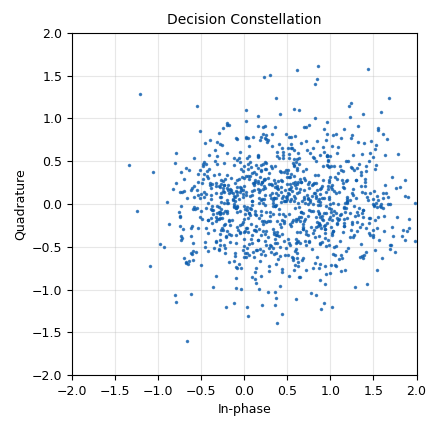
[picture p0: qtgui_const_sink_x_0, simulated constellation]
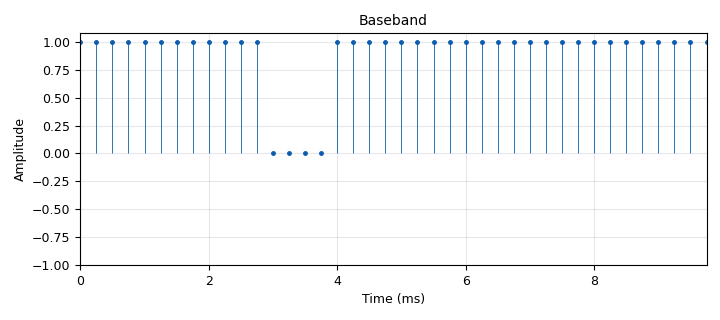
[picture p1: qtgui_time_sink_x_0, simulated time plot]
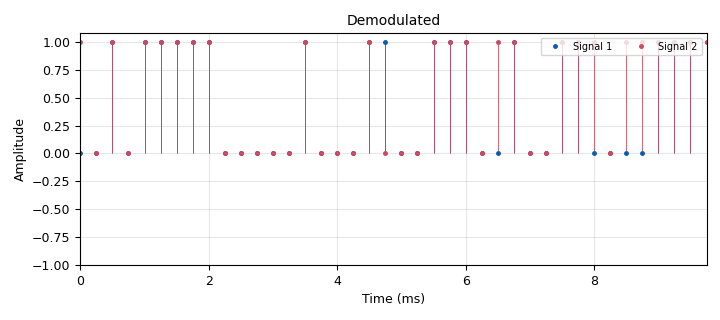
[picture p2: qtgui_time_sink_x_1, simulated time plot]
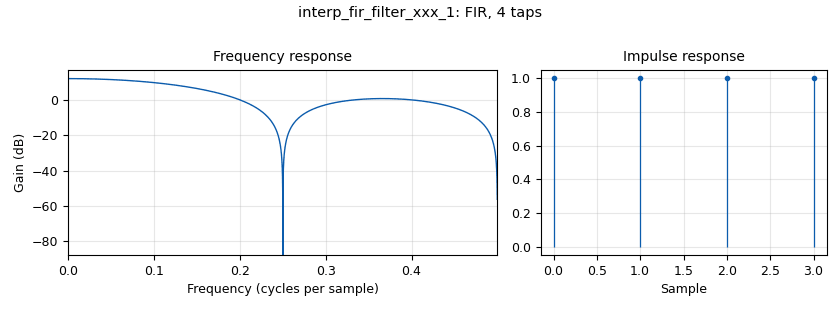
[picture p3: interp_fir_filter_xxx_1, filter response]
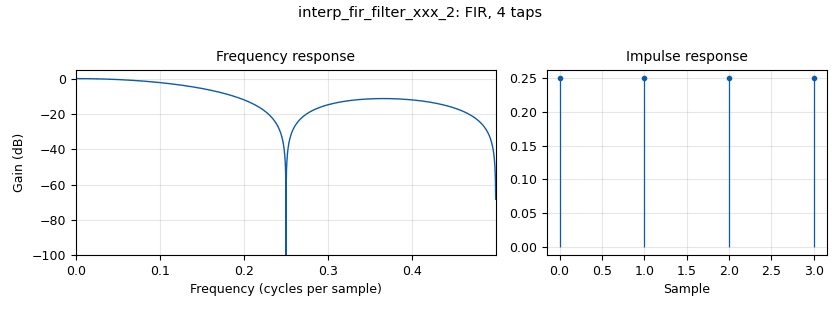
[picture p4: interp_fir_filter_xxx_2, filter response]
options:
  parameters:
    generate_options: qt_gui
    id: exp7_vv
    output_language: python
    title: Not titled yet
  states: {}

blocks:
- name: 'No'
  id: variable
  parameters:
    value: 4/SNR
  states: {}
- name: SNR
  id: variable
  parameters:
    value: 10**((SNR_db)/10)
  states: {}
- name: SNR_db
  id: variable_qtgui_range
  parameters:
    start: '0'
    step: '1'
    stop: '12'
    value: '4'
  states: {}
- name: data_rate
  id: variable
  parameters:
    value: '1000'
  states: {}
- name: samp_rate
  id: variable
  parameters:
    value: '4000'
  states: {}
- name: theory
  id: variable
  parameters:
    value: 0.5*ss.erfc(0.5*(np.sqrt(SNR)))
  states: {}
- name: analog_const_source_x_0
  id: analog_const_source_x
  parameters:
    const: theory
    type: float
  states: {}
- name: analog_noise_source_x_0
  id: analog_noise_source_x
  parameters:
    amp: np.sqrt(No)
    noise_type: analog.GR_GAUSSIAN
    seed: '0'
    type: complex
  states: {}
- name: analog_random_source_x_0
  id: analog_random_source_x
  parameters:
    max: '2'
    min: '0'
    num_samps: '10000'
    repeat: 'False'
    type: int
  states: {}
- name: blocks_add_xx_0
  id: blocks_add_xx
  parameters:
    type: complex
  states: {}
- name: blocks_char_to_float_0
  id: blocks_char_to_float
  parameters:
    scale: '1'
  states: {}
- name: blocks_float_to_char_0
  id: blocks_float_to_char
  parameters:
    scale: '1'
  states: {}
- name: blocks_float_to_complex_0
  id: blocks_float_to_complex
  parameters: {}
  states: {}
- name: blocks_int_to_float_0
  id: blocks_int_to_float
  parameters:
    scale: '1'
  states: {}
- name: blocks_keep_one_in_n_0
  id: blocks_keep_one_in_n
  parameters:
    n: '4'
    type: complex
  states: {}
- name: blocks_skiphead_0
  id: blocks_skiphead
  parameters:
    num_items: '0'
    type: complex
  states: {}
- name: blocks_throttle2_0
  id: blocks_throttle2
  parameters:
    samples_per_second: samp_rate
    type: float
  states: {}
- name: digital_chunks_to_symbols_xx_0
  id: digital_chunks_to_symbols_xx
  parameters:
    dimension: '1'
    in_type: int
    out_type: float
    symbol_table: '[0,1]'
  states: {}
- name: epy_block_0
  id: epy_block
  parameters:
    _source_code: |
      """
      Embedded Python Blocks:

      Each time this file is saved, GRC will instantiate the first class it finds
      to get ports and parameters of your block. The arguments to __init__  will
      be the parameters. All of them are required to have default values!
      """

      import numpy as np
      from gnuradio import gr


      class blk(gr.sync_block):  # other base classes are basic_block, decim_block, interp_block
          """Embedded Python Block example - a simple multiply const"""

          def __init__(self, example_param=1.0):  # only default arguments here
              """arguments to this function show up as parameters in GRC"""
              gr.sync_block.__init__(
                  self,
                  name='Embedded Python Block',   # will show up in GRC
                  in_sig=[np.complex64],
                  out_sig=[np.complex64]
              )
              # if an attribute with the same name as a parameter is found,
              # a callback is registered (properties work, too).
              self.example_param = example_param

          def work(self, input_items, output_items):
              """example: multiply with constant"""
              output_items[0][:] = input_items[0] * self.example_param
              return len(output_items[0])
      import numpy as np
      from gnuradio import gr


      class blk(gr.sync_block):
          """
          ASK/OOK Decision Device

          Input:
              Complex matched-filter samples

          Output:
              Detected bits (0 or 1)
          """

          def __init__(self, threshold=0.5):
              gr.sync_block.__init__(
                  self,
                  name="ASK Decision Device",
                  in_sig=[np.complex64],
                  out_sig=[np.uint8]
              )

              self.threshold = threshold

          def work(self, input_items, output_items):
              # Complex samples from matched filter/downsampler
              y = input_items[0]

              # Take the in-phase (real) component
              y_real = np.real(y)

              # Decision:
              # Real(y) > threshold -> 1
              # Real(y) <= threshold -> 0
              output_items[0][:] = (
                  y_real > self.threshold
              ).astype(np.uint8)

              return len(output_items[0])
    threshold: '0.5'
  states: {}
- name: epy_block_1
  id: epy_block
  parameters:
    _source_code: |
      """
      Embedded Python Blocks:

      Each time this file is saved, GRC will instantiate the first class it finds
      to get ports and parameters of your block. The arguments to __init__  will
      be the parameters. All of them are required to have default values!
      """

      import numpy as np
      from gnuradio import gr


      class blk(gr.sync_block):  # other base classes are basic_block, decim_block, interp_block
          """Embedded Python Block example - a simple multiply const"""

          def __init__(self, example_param=1.0):  # only default arguments here
              """arguments to this function show up as parameters in GRC"""
              gr.sync_block.__init__(
                  self,
                  name='Embedded Python Block',   # will show up in GRC
                  in_sig=[np.complex64],
                  out_sig=[np.complex64]
              )
              # if an attribute with the same name as a parameter is found,
              # a callback is registered (properties work, too).
              self.example_param = example_param

          def work(self, input_items, output_items):
              """example: multiply with constant"""
              output_items[0][:] = input_items[0] * self.example_param
              return len(output_items[0])

      import numpy as np
      from gnuradio import gr


      class blk(gr.sync_block):
          """
          BER Calculator

          Input 0 : Transmitted bits (uint8)
          Input 1 : Detected bits    (uint8)

          Output 0: BER
          Output 1: Total errors
          Output 2: Total bits compared
          """

          def __init__(self):
              gr.sync_block.__init__(
                  self,
                  name='BER Calculator',
                  in_sig=[np.uint8, np.uint8],
                  out_sig=[np.float32, np.float32, np.float32]
              )

              self.total_bits = 0
              self.total_errors = 0

          def work(self, input_items, output_items):

              tx = input_items[0]
              rx = input_items[1]

              N = min(len(tx), len(rx))

              if N == 0:
                  return 0

              # Count errors in the current block
              errors = np.count_nonzero(tx[:N] != rx[:N])

              # Cumulative counters
              self.total_errors += int(errors)
              self.total_bits += N

              # Calculate BER
              ber = float(self.total_errors) / float(self.total_bits)

              # Outputs
              output_items[0][:N] = ber
              output_items[1][:N] = float(self.total_errors)
              output_items[2][:N] = float(self.total_bits)

              return N
  states: {}
- name: import_0
  id: import
  parameters:
    imports: import numpy as np
  states: {}
- name: import_1
  id: import
  parameters:
    imports: import scipy.special as ss
  states: {}
- name: interp_fir_filter_xxx_0
  id: interp_fir_filter_xxx
  parameters:
    interp: samp_rate//data_rate
    taps: '[1,0,0,0]'
    type: fff
  states: {}
- name: interp_fir_filter_xxx_1
  id: interp_fir_filter_xxx
  parameters:
    interp: '1'
    taps: np.ones(samp_rate//data_rate)
    type: fff
  states: {}
- name: interp_fir_filter_xxx_2
  id: interp_fir_filter_xxx
  parameters:
    interp: '1'
    taps: '[0.25,0.25,0.25,0.25]'
    type: ccc
  states: {}
- name: qtgui_const_sink_x_0
  id: qtgui_const_sink_x
  parameters:
    gui_hint: 1,0,1,1
    name: Decision Constellation
    size: '1024'
    type: complex
  states: {}
- name: qtgui_number_sink_0
  id: qtgui_number_sink
  parameters:
    graph_type: qtgui.NUM_GRAPH_NONE
    name: Simulation BER
    type: float
  states: {}
- name: qtgui_number_sink_1
  id: qtgui_number_sink
  parameters:
    graph_type: qtgui.NUM_GRAPH_NONE
    gui_hint: 1,1,1,2
    name: Error
    type: float
  states: {}
- name: qtgui_number_sink_2
  id: qtgui_number_sink
  parameters:
    graph_type: qtgui.NUM_GRAPH_NONE
    name: Total Bits
    type: float
  states: {}
- name: qtgui_number_sink_3
  id: qtgui_number_sink
  parameters:
    graph_type: qtgui.NUM_GRAPH_NONE
    name: theory
    type: float
  states: {}
- name: qtgui_time_sink_x_0
  id: qtgui_time_sink_x
  parameters:
    gui_hint: 0,0,1,1
    name: Baseband
    size: '40'
    srate: samp_rate
    stemplot: 'True'
    type: float
  states: {}
- name: qtgui_time_sink_x_1
  id: qtgui_time_sink_x
  parameters:
    gui_hint: 0,1,1,1
    name: Demodulated
    nconnections: '2'
    size: '40'
    srate: samp_rate
    stemplot: 'True'
    type: float
  states: {}
- name: virtual_sink_0
  id: virtual_sink
  parameters:
    stream_id: '1'
  states: {}
- name: virtual_source_0
  id: virtual_source
  parameters:
    stream_id: '1'
  states: {}

connections:
- [analog_const_source_x_0, '0', qtgui_number_sink_3, '0']
- [analog_noise_source_x_0, '0', blocks_add_xx_0, '1']
- [analog_random_source_x_0, '0', blocks_int_to_float_0, '0']
- [analog_random_source_x_0, '0', digital_chunks_to_symbols_xx_0, '0']
- [blocks_add_xx_0, '0', interp_fir_filter_xxx_2, '0']
- [blocks_char_to_float_0, '0', qtgui_time_sink_x_1, '0']
- [blocks_float_to_char_0, '0', epy_block_1, '0']
- [blocks_float_to_complex_0, '0', virtual_sink_0, '0']
- [blocks_int_to_float_0, '0', qtgui_time_sink_x_1, '1']
- [blocks_keep_one_in_n_0, '0', epy_block_0, '0']
- [blocks_keep_one_in_n_0, '0', qtgui_const_sink_x_0, '0']
- [blocks_skiphead_0, '0', blocks_keep_one_in_n_0, '0']
- [blocks_throttle2_0, '0', interp_fir_filter_xxx_0, '0']
- [digital_chunks_to_symbols_xx_0, '0', blocks_float_to_char_0, '0']
- [digital_chunks_to_symbols_xx_0, '0', blocks_throttle2_0, '0']
- [epy_block_0, '0', blocks_char_to_float_0, '0']
- [epy_block_0, '0', epy_block_1, '1']
- [epy_block_1, '0', qtgui_number_sink_0, '0']
- [epy_block_1, '1', qtgui_number_sink_1, '0']
- [epy_block_1, '2', qtgui_number_sink_2, '0']
- [interp_fir_filter_xxx_0, '0', interp_fir_filter_xxx_1, '0']
- [interp_fir_filter_xxx_1, '0', blocks_float_to_complex_0, '0']
- [interp_fir_filter_xxx_1, '0', qtgui_time_sink_x_0, '0']
- [interp_fir_filter_xxx_2, '0', blocks_skiphead_0, '0']
- [virtual_source_0, '0', blocks_add_xx_0, '0']

metadata:
  file_format: 1
  grc_version: 3.10.8.0
